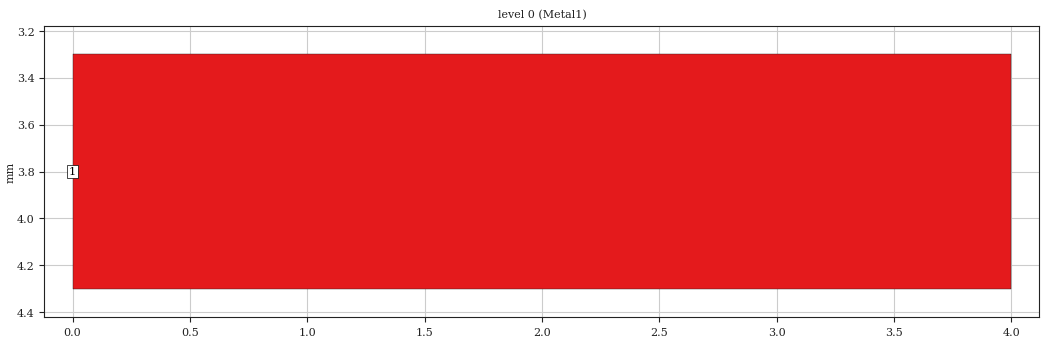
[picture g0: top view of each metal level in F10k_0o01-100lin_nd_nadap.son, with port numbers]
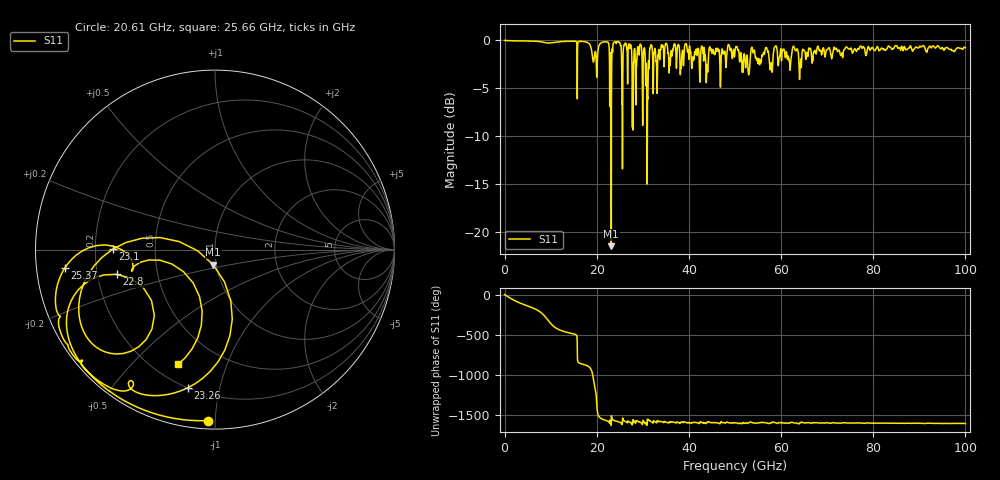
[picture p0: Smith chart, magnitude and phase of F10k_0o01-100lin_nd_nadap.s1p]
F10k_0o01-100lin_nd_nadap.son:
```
FTYP SONPROJ 19 ! Sonnet Project File
VER 18.56
HEADER
LIC sonnet10.72.52417
DAT 03/10/2023 03:35:10
BUILT_BY_CREATED xgeom 18.56 02/17/2023 13:10:04
BUILT_BY_SAVED sonnet 18.56
MDATE 03/10/2023 03:31:42
HDATE 03/10/2023 03:31:42
END HEADER
DIM
ANG DEG
CAP PF
CON /OH
FREQ GHZ
IND NH
LNG MM
RES OH
END DIM
CONTROL
VARSWP
OPTIONS 
SPEED 0
CACHE_ABS 2
Q_ACC N
END CONTROL
GEO
TMET "Lossless" 0 SUP 0 0 0 0
BMET "Lossless" 0 SUP 0 0 0 0
MET "Copper" 1 NOR 58000000 0.5 0.1 
BOX 1 15 10 600 400 20 0
      5 1 1 0 0 0 0 "Air"
      1 10 1 0.005 0 0 0 "Substrate"
TECHLAY METAL Metal1 <UNSPECIFIED> -2 -65534 
0 0 0 N 34 1 1 100 100 0 0 0 Y
END
END
LORGN 0 6.35 U 
POR1 BOX
POLY 24 1
3
1 50 0 0 0 0 3.8 
NUM 1
0 5 0 N 24 1 1 100 100 0 0 0 Y
TLAYNAM Metal1 INH
0 3.3
4 3.3
4 4.3
0 4.3
0 3.3
END
END GEO
OPT
MAX 100
END OPT
VARSWP
ENABLED Y
FREQ Y AN SWEEP 0.01 100.0 0.01
END
END VARSWP
FILEOUT
TOUCH D Y $BASENAME.s1p IC 15 S MA R 50.00000
FOLDER .
END FILEOUT
```
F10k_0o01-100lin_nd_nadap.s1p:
! Sonnet Data File
! From: em Version : 18.56
! From Project: F10k_0o1-100lin_nd_nadap
! Data is De-embedded
! Data File Written: 03/10/2023 09:17:25
!< HDATE 03/10/2023 03:31:42
!< MDATE 03/10/2023 03:31:42
# GHZ S MA R 50.00000
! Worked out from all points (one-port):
!   10000 points, 10 MHz to 100 GHz, reference 50 ohm
!   lowest |S11| = -21.4 dB at 23.16 GHz (marker M1), VSWR 1.19, Z = 48.4 - j8.21 ohm
!   |S11| at or under -10 dB: 23.12966 GHz to 23.18199 GHz (52.33 MHz wide, 0.226 % of centre); 25.55951 GHz to 25.60568 GHz (46.17 MHz wide, 0.18 % of centre); 30.90469 GHz to 30.97743 GHz (72.74 MHz wide, 0.235 % of centre)
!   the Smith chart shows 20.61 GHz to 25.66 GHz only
!   S11 on the Smith chart (normalised r, x): 20.61 GHz: 0.05, -0.96; 22.8 GHz: 0.28, -0.11; 23.1 GHz: 0.27, +0.00; 23.26 GHz: 0.20, -0.80; 25.37 GHz: 0.09, -0.06; 25.66 GHz: 0.30, -0.69
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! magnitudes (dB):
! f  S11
! 10 MHz  0.0
! 20.61 GHz  -0.4
! 22.8 GHz  -5.0
! 23.1 GHz  -4.9
! 23.16 GHz  -21.4
! 23.26 GHz  -2.1
! 24.08 GHz  -0.1
! 25.37 GHz  -1.5
! 25.66 GHz  -3.5
! 29.31 GHz  -0.6
! 30.96 GHz  -12.7
! 33.34 GHz  -1.6
! 66.68 GHz  -2.1
! 100 GHz  -0.8
